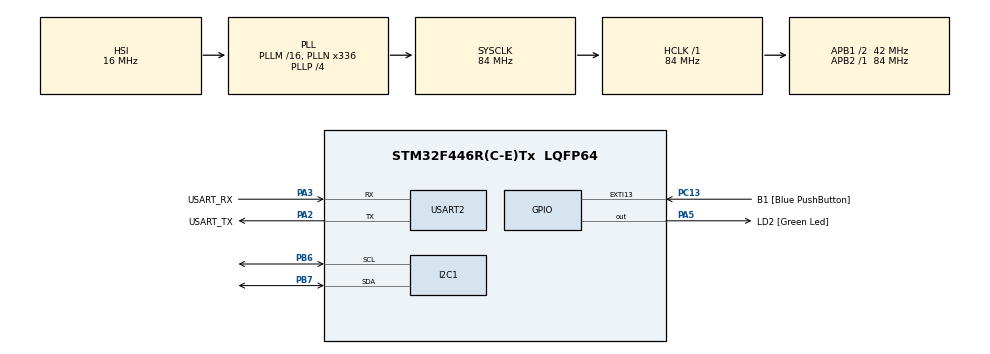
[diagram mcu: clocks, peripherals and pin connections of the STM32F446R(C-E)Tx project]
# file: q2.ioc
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Mcu.Family=STM32F4
Mcu.Name=STM32F446R(C-E)Tx
Mcu.Package=LQFP64
NVIC.PriorityGroup=NVIC_PRIORITYGROUP_0
PA13.GPIO_Label=TMS
PA13.Mode=Serial_Wire
PA13.Signal=SYS_JTMS-SWDIO
PA14.GPIO_Label=TCK
PA14.Mode=Serial_Wire
PA14.Signal=SYS_JTCK-SWCLK
PA2.GPIO_Label=USART_TX
PA2.Mode=Asynchronous
PA2.Signal=USART2_TX
PA3.GPIO_Label=USART_RX
PA3.Mode=Asynchronous
PA3.Signal=USART2_RX
PA5.GPIO_Label=LD2 [Green Led]
PA5.Signal=GPIO_Output
PB3.GPIO_Label=SWO
PB3.Signal=SYS_JTDO-SWO
PB6.Mode=I2C
PB6.Signal=I2C1_SCL
PB7.Mode=I2C
PB7.Signal=I2C1_SDA
PC13.GPIO_Label=B1 [Blue PushButton]
PC13.GPIO_ModeDefaultEXTI=GPIO_MODE_IT_FALLING
PC13.Signal=GPXTI13
PC14-OSC32_IN.Mode=LSE-External-Oscillator
PC14-OSC32_IN.Signal=RCC_OSC32_IN
PC15-OSC32_OUT.Mode=LSE-External-Oscillator
PC15-OSC32_OUT.Signal=RCC_OSC32_OUT
PH0-OSC_IN.Mode=HSE-External-Oscillator
PH0-OSC_IN.Signal=RCC_OSC_IN
PH1-OSC_OUT.Mode=HSE-External-Oscillator
PH1-OSC_OUT.Signal=RCC_OSC_OUT
ProjectManager.HeapSize=0x200
ProjectManager.StackSize=0x400
ProjectManager.TargetToolchain=STM32CubeIDE
RCC.48MHZClocksFreq_Value=84000000
RCC.AHBFreq_Value=84000000
RCC.APB1CLKDivider=RCC_HCLK_DIV2
RCC.APB1Freq_Value=42000000
RCC.APB1TimFreq_Value=84000000
RCC.APB2Freq_Value=84000000
RCC.APB2TimFreq_Value=84000000
RCC.CortexFreq_Value=84000000
RCC.FLatency-AdvancedSettings=FLASH_LATENCY_2
RCC.HCLKFreq_Value=84000000
RCC.HSE_VALUE=8000000
RCC.HSI_VALUE=16000000
RCC.PLLN=336
RCC.PLLP=RCC_PLLP_DIV4
RCC.SYSCLKFreq_VALUE=84000000
RCC.SYSCLKSource=RCC_SYSCLKSOURCE_PLLCLK
RCC.USBFreq_Value=168000000
RCC.VCOOutputFreq_Value=336000000
USART2.VirtualMode=VM_ASYNC
VP_RTC_VS_RTC_Activate.Mode=RTC_Enabled
VP_RTC_VS_RTC_Calendar.Mode=RTC_Calendar
board=NUCLEO-F446RE

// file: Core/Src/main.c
/* USER CODE BEGIN Header */
/**
  ******************************************************************************
  * @file           : main.c
  * @brief          : Main program body
  ******************************************************************************
  * @attention
  *
  * Copyright (c) 2025 STMicroelectronics.
  * All rights reserved.
  *
  * This software is licensed under terms that can be found in the LICENSE file
  * in the root directory of this software component.
  * If no LICENSE file comes with this software, it is provided AS-IS.
  *
  ******************************************************************************
  */
/* USER CODE END Header */
#include "main.h"
#include <stdio.h>
#define SLAVE_ADDRESS_LCD 0x4E

I2C_HandleTypeDef hi2c1;

RTC_HandleTypeDef hrtc;

UART_HandleTypeDef huart2;

void SystemClock_Config(void);
static void MX_GPIO_Init(void);
static void MX_USART2_UART_Init(void);
static void MX_I2C1_Init(void);
static void MX_RTC_Init(void);

/* USER CODE BEGIN 0 */
void lcd_send_cmd (char cmd)
{
  char data_u, data_l;
  data_u = (cmd&0xf0);
  data_l = ((cmd<<4)&0xf0);
  uint8_t data_t[4];
  data_t[0] = data_u|0x0C;  //en=1, rs=0 -> bxxxx1100
  data_t[1] = data_u|0x08;  //en=0, rs=0 -> bxxxx1000
  data_t[2] = data_l|0x0C;  //en=1, rs=0 -> bxxxx1100
  data_t[3] = data_l|0x08;  //en=0, rs=0 -> bxxxx1000
  HAL_I2C_Master_Transmit (&hi2c1, SLAVE_ADDRESS_LCD,(uint8_t *) data_t, 4, 100);
}
void lcd_send_data (char data)
{
	char data_u, data_l;
	uint8_t data_t[4];
	data_u = (data&0xf0);
	data_l = ((data<<4)&0xf0);
	data_t[0] = data_u|0x0D;  //en=1, rs=1 -> bxxxx1101
	data_t[1] = data_u|0x09;  //en=0, rs=1 -> bxxxx1001
	data_t[2] = data_l|0x0D;  //en=1, rs=1 -> bxxxx1101
	data_t[3] = data_l|0x09;  //en=0, rs=1 -> bxxxx1001
	HAL_I2C_Master_Transmit (&hi2c1, SLAVE_ADDRESS_LCD,(uint8_t *) data_t, 4, 100);
}
void lcd_init (void)
{
  // 4 bit initialisation
  HAL_Delay(50);  // wait for >40ms
  lcd_send_cmd (0x30);
  HAL_Delay(5);  // wait for >4.1ms
  lcd_send_cmd (0x30);
  HAL_Delay(1);  // wait for >100us
  lcd_send_cmd (0x30);
  HAL_Delay(10);
  lcd_send_cmd (0x20);  // 4bit mode
  HAL_Delay(10);

  // display initialisation
  lcd_send_cmd (0x28); // Function set --> DL=0 (4 bit mode), N = 1 (2 line display) F = 0 (5x8 characters)
  HAL_Delay(1);
  lcd_send_cmd (0x08); //Display on/off control --> D=0,C=0, B=0  ---> display off
  HAL_Delay(1);
  lcd_send_cmd (0x01);  // clear display
  HAL_Delay(2);
  lcd_send_cmd (0x06); //Entry mode set --> I/D = 1 (increment cursor) & S = 0 (no shift)
  HAL_Delay(1);
  lcd_send_cmd (0x0C); //Display on/off control --> D = 1, C and B = 0. (Cursor and blink, last two bits)
}
void set_time (uint8_t hr, uint8_t min, uint8_t sec)
{
	RTC_TimeTypeDef sTime = {0};
	sTime.Hours = hr;
	sTime.Minutes = min;
	sTime.Seconds = sec;
	sTime.DayLightSaving = RTC_DAYLIGHTSAVING_NONE;
	sTime.StoreOperation = RTC_STOREOPERATION_RESET;
	if (HAL_RTC_SetTime(&hrtc, &sTime, RTC_FORMAT_BIN) != HAL_OK)
	{
		Error_Handler();
	}
}
void set_date (uint8_t year, uint8_t month, uint8_t date, uint8_t day)  // monday = 1
{
	RTC_DateTypeDef sDate = {0};
	sDate.WeekDay = day;
	sDate.Month = month;
	sDate.Date = date;
	sDate.Year = year;
	if (HAL_RTC_SetDate(&hrtc, &sDate, RTC_FORMAT_BIN) != HAL_OK)
	{
		Error_Handler();
	}

	HAL_RTCEx_BKUPWrite(&hrtc, RTC_BKP_DR1, 0x2345);  // backup register
}
void get_time_date(char *time, char *date)
{
  RTC_DateTypeDef gDate;
  RTC_TimeTypeDef gTime;

  /* Get the RTC current Time */
  HAL_RTC_GetTime(&hrtc, &gTime, RTC_FORMAT_BIN);
  /* Get the RTC current Date */
  HAL_RTC_GetDate(&hrtc, &gDate, RTC_FORMAT_BIN);

  /* Display time Format: hh:mm:ss */
  sprintf((char*)time,"%02d:%02d:%02d",gTime.Hours, gTime.Minutes, gTime.Seconds);

  /* Display date Format: dd-mm-yyyy */
  sprintf((char*)date,"%02d-%02d-%2d",gDate.Date, gDate.Month, 2000 + gDate.Year);
}
void lcd_clear (void)
{
	lcd_send_cmd (0x80);
	for (int i=0; i<70; i++)
	{
		lcd_send_data (' ');
	}
}

void lcd_put_cur(int row, int col)
{
    switch (row)
    {
        case 0:
            col |= 0x80;
            break;
        case 1:
            col |= 0xC0;
            break;
    }

    lcd_send_cmd (col);
}
void lcd_send_string (char *str)
{
	while (*str) lcd_send_data (*str++);
}
char timeData[15];
char dateData[15];
/* USER CODE END 0 */

int main(void)
{

  /* MCU Configuration--------------------------------------------------------*/

  /* Reset of all peripherals, Initializes the Flash interface and the Systick. */
  HAL_Init();

  /* Configure the system clock */
  SystemClock_Config();

  /* Initialize all configured peripherals */
  MX_GPIO_Init();
  MX_USART2_UART_Init();
  MX_I2C1_Init();
  MX_RTC_Init();
  /* USER CODE BEGIN 2 */
  lcd_init();
    set_time(16, 10, 00);
    set_date(25, 2, 3, 7);
  /* Infinite loop */
  while (1)
  {
	  	  get_time_date(timeData, dateData);
	      lcd_put_cur(0,0);
	      lcd_send_string(timeData);
	      lcd_put_cur(1,0);
	      lcd_send_string(dateData);
	      HAL_Delay(500);
  }
}

void SystemClock_Config(void)
{
  RCC_OscInitTypeDef RCC_OscInitStruct = {0};
  RCC_ClkInitTypeDef RCC_ClkInitStruct = {0};

  /** Configure the main internal regulator output voltage
  */
  __HAL_RCC_PWR_CLK_ENABLE();
  __HAL_PWR_VOLTAGESCALING_CONFIG(PWR_REGULATOR_VOLTAGE_SCALE3);

  /** Initializes the RCC Oscillators according to the specified parameters
  * in the RCC_OscInitTypeDef structure.
  */
  RCC_OscInitStruct.OscillatorType = RCC_OSCILLATORTYPE_HSI|RCC_OSCILLATORTYPE_LSI;
  RCC_OscInitStruct.LSEState = RCC_LSE_ON;
  RCC_OscInitStruct.HSIState = RCC_HSI_ON;
  RCC_OscInitStruct.HSICalibrationValue = RCC_HSICALIBRATION_DEFAULT;
  RCC_OscInitStruct.LSIState = RCC_LSI_ON;
  RCC_OscInitStruct.PLL.PLLState = RCC_PLL_ON;
  RCC_OscInitStruct.PLL.PLLSource = RCC_PLLSOURCE_HSI;
  RCC_OscInitStruct.PLL.PLLM = 16;
  RCC_OscInitStruct.PLL.PLLN = 336;
  RCC_OscInitStruct.PLL.PLLP = RCC_PLLP_DIV4;
  RCC_OscInitStruct.PLL.PLLQ = 2;
  RCC_OscInitStruct.PLL.PLLR = 2;
  if (HAL_RCC_OscConfig(&RCC_OscInitStruct) != HAL_OK)
  {
    Error_Handler();
  }

  /** Initializes the CPU, AHB and APB buses clocks
  */
  RCC_ClkInitStruct.ClockType = RCC_CLOCKTYPE_HCLK|RCC_CLOCKTYPE_SYSCLK
                              |RCC_CLOCKTYPE_PCLK1|RCC_CLOCKTYPE_PCLK2;
  RCC_ClkInitStruct.SYSCLKSource = RCC_SYSCLKSOURCE_PLLCLK;
  RCC_ClkInitStruct.AHBCLKDivider = RCC_SYSCLK_DIV1;
  RCC_ClkInitStruct.APB1CLKDivider = RCC_HCLK_DIV2;
  RCC_ClkInitStruct.APB2CLKDivider = RCC_HCLK_DIV1;

  if (HAL_RCC_ClockConfig(&RCC_ClkInitStruct, FLASH_LATENCY_2) != HAL_OK)
  {
    Error_Handler();
  }
}

static void MX_I2C1_Init(void)
{

  hi2c1.Instance = I2C1;
  hi2c1.Init.ClockSpeed = 100000;
  hi2c1.Init.DutyCycle = I2C_DUTYCYCLE_2;
  hi2c1.Init.OwnAddress1 = 0;
  hi2c1.Init.AddressingMode = I2C_ADDRESSINGMODE_7BIT;
  hi2c1.Init.DualAddressMode = I2C_DUALADDRESS_DISABLE;
  hi2c1.Init.OwnAddress2 = 0;
  hi2c1.Init.GeneralCallMode = I2C_GENERALCALL_DISABLE;
  hi2c1.Init.NoStretchMode = I2C_NOSTRETCH_DISABLE;
  if (HAL_I2C_Init(&hi2c1) != HAL_OK)
  {
    Error_Handler();
  }

}

static void MX_RTC_Init(void)
{

  RTC_TimeTypeDef sTime = {0};
  RTC_DateTypeDef sDate = {0};

  /** Initialize RTC Only
  */
  hrtc.Instance = RTC;
  hrtc.Init.HourFormat = RTC_HOURFORMAT_24;
  hrtc.Init.AsynchPrediv = 127;
  hrtc.Init.SynchPrediv = 255;
  hrtc.Init.OutPut = RTC_OUTPUT_DISABLE;
  hrtc.Init.OutPutPolarity = RTC_OUTPUT_POLARITY_HIGH;
  hrtc.Init.OutPutType = RTC_OUTPUT_TYPE_OPENDRAIN;
  if (HAL_RTC_Init(&hrtc) != HAL_OK)
  {
    Error_Handler();
  }

  /** Initialize RTC and set the Time and Date
  */
  sTime.Hours = 0x0;
  sTime.Minutes = 0x0;
  sTime.Seconds = 0x0;
  sTime.DayLightSaving = RTC_DAYLIGHTSAVING_NONE;
  sTime.StoreOperation = RTC_STOREOPERATION_RESET;
  if (HAL_RTC_SetTime(&hrtc, &sTime, RTC_FORMAT_BCD) != HAL_OK)
  {
    Error_Handler();
  }
  sDate.WeekDay = RTC_WEEKDAY_MONDAY;
  sDate.Month = RTC_MONTH_JANUARY;
  sDate.Date = 0x1;
  sDate.Year = 0x0;

  if (HAL_RTC_SetDate(&hrtc, &sDate, RTC_FORMAT_BCD) != HAL_OK)
  {
    Error_Handler();
  }

}

static void MX_USART2_UART_Init(void)
{

  huart2.Instance = USART2;
  huart2.Init.BaudRate = 115200;
  huart2.Init.WordLength = UART_WORDLENGTH_8B;
  huart2.Init.StopBits = UART_STOPBITS_1;
  huart2.Init.Parity = UART_PARITY_NONE;
  huart2.Init.Mode = UART_MODE_TX_RX;
  huart2.Init.HwFlowCtl = UART_HWCONTROL_NONE;
  huart2.Init.OverSampling = UART_OVERSAMPLING_16;
  if (HAL_UART_Init(&huart2) != HAL_OK)
  {
    Error_Handler();
  }

}

static void MX_GPIO_Init(void)
{
  GPIO_InitTypeDef GPIO_InitStruct = {0};

  /* GPIO Ports Clock Enable */
  __HAL_RCC_GPIOC_CLK_ENABLE();
  __HAL_RCC_GPIOH_CLK_ENABLE();
  __HAL_RCC_GPIOA_CLK_ENABLE();
  __HAL_RCC_GPIOB_CLK_ENABLE();

  /*Configure GPIO pin Output Level */
  HAL_GPIO_WritePin(LD2_GPIO_Port, LD2_Pin, GPIO_PIN_RESET);

  /*Configure GPIO pin : B1_Pin */
  GPIO_InitStruct.Pin = B1_Pin;
  GPIO_InitStruct.Mode = GPIO_MODE_IT_FALLING;
  GPIO_InitStruct.Pull = GPIO_NOPULL;
  HAL_GPIO_Init(B1_GPIO_Port, &GPIO_InitStruct);

  /*Configure GPIO pin : LD2_Pin */
  GPIO_InitStruct.Pin = LD2_Pin;
  GPIO_InitStruct.Mode = GPIO_MODE_OUTPUT_PP;
  GPIO_InitStruct.Pull = GPIO_NOPULL;
  GPIO_InitStruct.Speed = GPIO_SPEED_FREQ_LOW;
  HAL_GPIO_Init(LD2_GPIO_Port, &GPIO_InitStruct);

}

void Error_Handler(void)
{
  __disable_irq();
  while (1)
  {
  }
}
